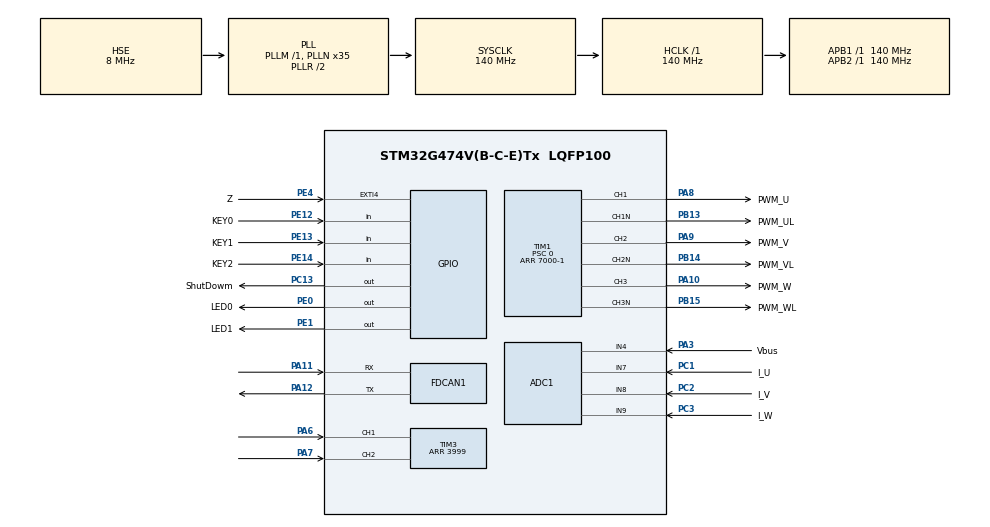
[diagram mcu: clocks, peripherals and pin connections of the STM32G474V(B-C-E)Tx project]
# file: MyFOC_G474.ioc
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ADC1.Channel-0\#ChannelRegularConversion=ADC_CHANNEL_4
ADC1.ContinuousConvMode=ENABLE
ADC1.EnableInjectedConversion=ENABLE
ADC1.ExternalTrigInjecConv=ADC_EXTERNALTRIGINJEC_T1_CC4
ADC1.InjNumberOfConversion=3
ADC1.InjectedChannel-1\#ChannelInjectedConversion=ADC_CHANNEL_7
ADC1.InjectedChannel-2\#ChannelInjectedConversion=ADC_CHANNEL_8
ADC1.InjectedChannel-3\#ChannelInjectedConversion=ADC_CHANNEL_9
ADC1.InjectedOffsetNumber-1\#ChannelInjectedConversion=ADC_OFFSET_NONE
ADC1.InjectedOffsetNumber-2\#ChannelInjectedConversion=ADC_OFFSET_NONE
ADC1.InjectedOffsetNumber-3\#ChannelInjectedConversion=ADC_OFFSET_NONE
ADC1.InjectedRank-1\#ChannelInjectedConversion=1
ADC1.InjectedRank-2\#ChannelInjectedConversion=2
ADC1.InjectedRank-3\#ChannelInjectedConversion=3
ADC1.InjectedSamplingTime-1\#ChannelInjectedConversion=ADC_SAMPLETIME_6CYCLES_5
ADC1.InjectedSamplingTime-2\#ChannelInjectedConversion=ADC_SAMPLETIME_6CYCLES_5
ADC1.InjectedSamplingTime-3\#ChannelInjectedConversion=ADC_SAMPLETIME_6CYCLES_5
ADC1.NbrOfConversionFlag=1
ADC1.OffsetNumber-0\#ChannelRegularConversion=ADC_OFFSET_NONE
ADC1.Rank-0\#ChannelRegularConversion=1
ADC1.Rank1_Channel=ADC_CHANNEL_7
ADC1.Rank2_Channel=ADC_CHANNEL_8
ADC1.Rank3_Channel=ADC_CHANNEL_9
ADC1.SamplingTime-0\#ChannelRegularConversion=ADC_SAMPLETIME_2CYCLES_5
ADC1.master=1
FDCAN1.AutoRetransmission=ENABLE
FDCAN1.CalculateBaudRateNominal=500000
FDCAN1.CalculateTimeBitNominal=2000
FDCAN1.CalculateTimeQuantumNominal=50.0
FDCAN1.NominalPrescaler=7
FDCAN1.NominalSyncJumpWidth=4
FDCAN1.NominalTimeSeg1=34
FDCAN1.NominalTimeSeg2=5
FDCAN1.StdFiltersNbr=1
Mcu.Family=STM32G4
Mcu.Name=STM32G474V(B-C-E)Tx
Mcu.Package=LQFP100
NVIC.ADC1_2_IRQn=true\:0\:0\:true\:false\:true\:true\:true\:true
NVIC.EXTI4_IRQn=true\:2\:0\:true\:false\:true\:true\:true\:true
NVIC.FDCAN1_IT0_IRQn=true\:1\:0\:true\:false\:true\:true\:true\:true
NVIC.PriorityGroup=NVIC_PRIORITYGROUP_4
NVIC.TIM6_DAC_IRQn=true\:15\:0\:false\:false\:true\:true\:true\:true
NVIC.TIM7_DAC_IRQn=true\:2\:0\:true\:false\:true\:true\:true\:true
NVIC.TimeBase=TIM6_DAC_IRQn
NVIC.TimeBaseIP=TIM6
PA10.GPIO_Label=PWM_W
PA10.Signal=S_TIM1_CH3
PA11.GPIO_PuPd=GPIO_NOPULL
PA11.GPIO_Speed=GPIO_SPEED_FREQ_HIGH
PA11.Mode=FDCAN_Activate
PA11.Signal=FDCAN1_RX
PA12.GPIO_Speed=GPIO_SPEED_FREQ_HIGH
PA12.Mode=FDCAN_Activate
PA12.Signal=FDCAN1_TX
PA13.Mode=Serial_Wire
PA13.Signal=SYS_JTMS-SWDIO
PA14.Mode=Serial_Wire
PA14.Signal=SYS_JTCK-SWCLK
PA3.GPIO_Label=Vbus
PA3.Mode=IN4-Single-Ended
PA3.Signal=ADC1_IN4
PA6.Signal=S_TIM3_CH1
PA7.Signal=S_TIM3_CH2
PA8.GPIO_Label=PWM_U
PA8.Signal=S_TIM1_CH1
PA9.GPIO_Label=PWM_V
PA9.Signal=S_TIM1_CH2
PB13.GPIO_Label=PWM_UL
PB13.Mode=PWM Generation1 CH1 CH1N
PB13.Signal=TIM1_CH1N
PB14.GPIO_Label=PWM_VL
PB14.Mode=PWM Generation2 CH2 CH2N
PB14.Signal=TIM1_CH2N
PB15.GPIO_Label=PWM_WL
PB15.Mode=PWM Generation3 CH3 CH3N
PB15.Signal=TIM1_CH3N
PC1.GPIO_Label=I_U
PC1.Mode=IN7-Single-Ended
PC1.Signal=ADC1_IN7
PC13.GPIO_Label=ShutDowm
PC13.Signal=GPIO_Output
PC2.GPIO_Label=I_V
PC2.Mode=IN8-Single-Ended
PC2.Signal=ADC1_IN8
PC3.GPIO_Label=I_W
PC3.Mode=IN9-Single-Ended
PC3.Signal=ADC1_IN9
PE0.GPIO_Label=LED0
PE0.GPIO_PuPd=GPIO_PULLUP
PE0.Signal=GPIO_Output
PE1.GPIO_Label=LED1
PE1.GPIO_PuPd=GPIO_PULLUP
PE1.Signal=GPIO_Output
PE12.GPIO_Label=KEY0
PE12.GPIO_PuPd=GPIO_PULLUP
PE12.Signal=GPIO_Input
PE13.GPIO_Label=KEY1
PE13.GPIO_PuPd=GPIO_PULLUP
PE13.Signal=GPIO_Input
PE14.GPIO_Label=KEY2
PE14.GPIO_PuPd=GPIO_PULLUP
PE14.Signal=GPIO_Input
PE4.GPIO_Label=Z
PE4.GPIO_PuPd=GPIO_PULLUP
PE4.Signal=GPXTI4
PF0-OSC_IN.Mode=HSE-External-Oscillator
PF0-OSC_IN.Signal=RCC_OSC_IN
PF1-OSC_OUT.Mode=HSE-External-Oscillator
PF1-OSC_OUT.Signal=RCC_OSC_OUT
ProjectManager.HeapSize=0x200
ProjectManager.StackSize=0x400
ProjectManager.TargetToolchain=MDK-ARM V5.32
RCC.ADC12Freq_Value=140000000
RCC.ADC345Freq_Value=140000000
RCC.AHBFreq_Value=140000000
RCC.APB1Freq_Value=140000000
RCC.APB1TimFreq_Value=140000000
RCC.APB2Freq_Value=140000000
RCC.APB2TimFreq_Value=140000000
RCC.CortexFreq_Value=140000000
RCC.EXTERNAL_CLOCK_VALUE=12288000
RCC.HCLKFreq_Value=140000000
RCC.HSE_VALUE=8000000
RCC.HSI48_VALUE=48000000
RCC.HSI_VALUE=16000000
RCC.LSE_VALUE=32768
RCC.PLLN=35
RCC.PLLSourceVirtual=RCC_PLLSOURCE_HSE
RCC.SYSCLKFreq_VALUE=140000000
RCC.SYSCLKSource=RCC_SYSCLKSOURCE_PLLCLK
RCC.USBFreq_Value=140000000
RCC.VCOOutputFreq_Value=280000000
SH.S_TIM1_CH1.0=TIM1_CH1,PWM Generation1 CH1 CH1N
SH.S_TIM1_CH2.0=TIM1_CH2,PWM Generation2 CH2 CH2N
SH.S_TIM1_CH3.0=TIM1_CH3,PWM Generation3 CH3 CH3N
SH.S_TIM3_CH1.0=TIM3_CH1,Encoder_Interface
SH.S_TIM3_CH2.0=TIM3_CH2,Encoder_Interface
TIM1.Channel-PWM\ Generation1\ CH1\ CH1N=TIM_CHANNEL_1
TIM1.Channel-PWM\ Generation2\ CH2\ CH2N=TIM_CHANNEL_2
TIM1.Channel-PWM\ Generation3\ CH3\ CH3N=TIM_CHANNEL_3
TIM1.Channel-PWM\ Generation4\ No\ Output=TIM_CHANNEL_4
TIM1.CounterMode=TIM_COUNTERMODE_CENTERALIGNED3
TIM1.DeadTime=50
TIM1.OCMode_PWM-PWM\ Generation4\ No\ Output=TIM_OCMODE_PWM2
TIM1.PeriodNoDither=7000-1
TIM1.Prescaler=0
TIM1.PulseNoDither_4=7000-2
TIM1.RepetitionCounter=1
TIM1.TIM_MasterOutputTrigger=TIM_TRGO_OC4REF
TIM3.EncoderMode=TIM_ENCODERMODE_TI12
TIM3.IC1Filter=5
TIM3.IC2Filter=5
TIM3.PeriodNoDither=3999
TIM7.PeriodNoDither=7000
TIM7.Prescaler=20-1
VP_SYS_VS_DBSignals.Mode=DisableDeadBatterySignals
VP_SYS_VS_tim6.Mode=TIM6
VP_TIM1_VS_ClockSourceINT.Mode=Internal
VP_TIM1_VS_no_output4.Mode=PWM Generation4 No Output
VP_TIM7_VS_ClockSourceINT.Mode=Enable_Timer
board=custom

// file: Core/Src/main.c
/* USER CODE BEGIN Header */
/**
  ******************************************************************************
  * @file           : main.c
  * @brief          : Main program body
  ******************************************************************************
  * @attention
  *
  * Copyright (c) 2025 STMicroelectronics.
  * All rights reserved.
  *
  * This software is licensed under terms that can be found in the LICENSE file
  * in the root directory of this software component.
  * If no LICENSE file comes with this software, it is provided AS-IS.
  *
  ******************************************************************************
  */
/* USER CODE END Header */
#include "main.h"
#include "adc.h"
#include "fdcan.h"
#include "tim.h"
#include "gpio.h"

/* USER CODE BEGIN Includes */
#include "Led_Key.h"
#include "Encoder.h"
#include "Foc_Function.h"
#include "Observer.h"
#include "NFO.h"
#include "HFI.h"
#include "EKF.h"
#include "DOB.h"
#include "math.h"
#include "arm_math.h"
#include "Dwt_timer.h"
#include "Identify_J_B.h"
#include "Identify_Rs_Ls.h"
#include "DeadTime.h"
/* USER CODE END Includes */

/* USER CODE BEGIN PV */

float     ref          = 0;
float     step         = 0.0f;

uint16_t  ADC_Vbus     = 0;
uint16_t  ADC_IsensU   = 0;
uint16_t  ADC_IsensV   = 0;
uint16_t  ADC_IsensW   = 0;

uint32_t  U_Offset     = 0;
uint32_t  V_Offset     = 0;
uint32_t  W_Offset     = 0;

float     Vbus         = 0;
float     IsensU_raw   = 0;
float     IsensV_raw   = 0;
float     IsensW_raw   = 0;
float     IsensU       = 0;
float     IsensV       = 0;
float     IsensW       = 0;

uint8_t   Offset_Flag  = 0;
uint8_t   Run_Flag     = 0;
uint8_t   Run_Switch   = 0;
uint8_t   ThetaUp_Flag = 0;
uint8_t   Z_flag       = 0;

uint8_t   Close_Flag   = 0;
uint8_t   Hat_Flag     = 0;

uint8_t   key          = 0;
float     my_theta     = 0;

uint16_t  EncValueRaw  = 0;
uint16_t  EncValue     = 0;
float     Enc_eTheta   = 0;
float     Enc_Speed    = 0;
uint16_t  Enc_Pos      = 0;
uint16_t  Enc_cnt      = 0;

//观测器变量
float     Smo_e_Theta     = 0;
float     Smo_Pll_e_Theta = 0;
float     Bef_e_Theta     = 0;
float     Smo_Speed       = 0;
float     Smo_err         = 0;

float     Nfo_e_Theta     = 0;

float     Ekf_e_Theta     = 0.0f;

float     Hfi_eTheta      = 0.0f;
float     Hfi_err         = 0.0f;

//MIT变量
float     Pref         =0.0f;
float     Vref         =0.0f;
float     Kp           =0.03f;
float     Kd           =0.002f;
float     Tff          =0.0f;

//PI控制变量
float     kp           = 1.92f;         // Kp  = wc*L    = 2*pi*1000*0.000305     = 1.92     带宽1khz
float     ki           = 0.236f;        // Ki  = wc*R*Ts = 2*pi*1000*0.375*0.0001 = 0.236
float     skp          = 0.00591f;      // skp = (2*pi/60) * (2*wc*J - B) / Kt               带宽20hz(以rpm为速度)0.00591f
float     ski          = 0.000378f;     // ski = [(2*pi/60) * (wc*wc*J) / Kt] * Ts 0.000378f
float     pkp          = 0.15f;
float     pkd          = 0.000f;

float     Iqref        = 0.0f;
float     Idref        = 0.0f;
int16_t   Speedref     = 0;
int32_t   Posref       = 0;

int32_t   Total_Position = 0;            // 多圈绝对位置累加器
uint16_t  Last_Raw_Value = 0;            // 上一次的单圈机械值

int16_t   Speedref_ramp  = 0;
int16_t   Speed_step_up  = 1;
int16_t   Speed_step_dn  = 10;

float     Ud;                           //Jlink
float     Uq;
float     Ualpha;
float     Ubeta;
float     Id;
float     Iq;
float     Ialpha;
float     Ibeta;

//DOB 扰动转矩观测器
QDOB_Handle_t g_qdob;
QDOB_Config_t g_qdob_cfg;

FullLuenbergerDOB_Handle_t g_full_dob;
FullLuenbergerDOB_Config_t g_full_dob_cfg;

//JLink/JScope观察变量
float DOB_Q_TL = 0.0f;          // Q-DOB估计负载转矩，N*m
float DOB_FULL_TL = 0.0f;       // 全阶Luenberger估计负载转矩，N*m
float DOB_FULL_W_HAT = 0.0f;    // 全阶内部估计速度，rad/s

//J  B  identify
ID_J_B_Handle_t   g_idjb;
ID_J_B_Output_t   g_idjb_out;
ID_J_B_Config_t   g_idjb_cfg;
ID_J_B_Input_t    idjb_in;
//Rs Ls identify
ID_Rs_Ls_Handle_t g_idrsl;
ID_Rs_Ls_Config_t g_idrsl_cfg;
ID_Rs_Ls_Input_t  g_idrsl_in;
ID_Rs_Ls_Output_t g_idrsl_out;

DWT_Time_t t;

/* USER CODE END PV */

void SystemClock_Config(void);

int main(void)
{

  /* MCU Configuration--------------------------------------------------------*/

  /* Reset of all peripherals, Initializes the Flash interface and the Systick. */
  HAL_Init();

  /* Configure the system clock */
  SystemClock_Config();

  /* USER CODE BEGIN SysInit */
  DWT_Timer_Init();
  /* USER CODE END SysInit */

  /* Initialize all configured peripherals */
  MX_GPIO_Init();
  MX_ADC1_Init();
  MX_TIM1_Init();
  MX_TIM3_Init();
  MX_TIM7_Init();
  MX_FDCAN1_Init();
  /* USER CODE BEGIN 2 */

  /******* LED 关闭 *******/
  LED0(1);
  LED1(1);

  /******* SHUTDOWN *******/
  HAL_GPIO_WritePin(GPIOC, GPIO_PIN_13, GPIO_PIN_SET);

  /******** TIM1&6&7 PWM *********/
//  HAL_TIM_Base_Start_IT(&htim6);
  HAL_TIM_Base_Start_IT(&htim7);

  HAL_TIM_Base_Start( &htim1);                                      //TIM1 PWM
  HAL_TIM_PWM_Start ( &htim1, TIM_CHANNEL_4);

  HAL_TIM_PWM_Start( &htim1, TIM_CHANNEL_1);
  HAL_TIM_PWM_Start( &htim1, TIM_CHANNEL_2);
  HAL_TIM_PWM_Start( &htim1, TIM_CHANNEL_3);
  HAL_TIMEx_PWMN_Start( &htim1, TIM_CHANNEL_1);
  HAL_TIMEx_PWMN_Start( &htim1, TIM_CHANNEL_2);
  HAL_TIMEx_PWMN_Start( &htim1, TIM_CHANNEL_3);

  /******** ADC ********/
  __HAL_ADC_CLEAR_FLAG( &hadc1, ADC_FLAG_JEOC);
  __HAL_ADC_CLEAR_FLAG( &hadc1, ADC_FLAG_EOC);                      //End of Conversion

  HAL_ADCEx_Calibration_Start(&hadc1 , ADC_SINGLE_ENDED);           //ADC
  HAL_ADCEx_InjectedStart_IT(&hadc1);

  HAL_ADC_Start(&hadc1);
  /******** 编码器0位校准 ********/
  Encoder_Init();
  while(Offset_Flag == 0)
  {
      HAL_Delay(1);
  }
  Encoder_Align_Zero();

  /******** NFO复位 ********/
  NFO_Reset(&NFO, Enc_eTheta, MyFoc.Ialpha, MyFoc.Ibeta);

  /******** HFI复位使能 ********/
  HFI_Reset(&HFI, Enc_eTheta);
  HFI.enable = 1;

  /******** EKF复位 ********/
  EKF_SetMotor(&EKF, 0.375f, 0.000305f, 0.00512f, 0.0001f);
  EKF_SetNoise(&EKF, 0.00002f, 50.0f, 0.0001f, 0.01f);
  EKF_Reset(&EKF, Enc_eTheta, MyFoc.Ialpha, MyFoc.Ibeta, 0.0f);

  /******** DOB初始化 ********/
  QDOB_DefaultConfig(&g_qdob_cfg);
  g_qdob_cfg.wq = 80.0f;              // Q-DOB带宽 rad/s，先保守
  g_qdob_cfg.tl_abs_limit_nm = 0.5f;  // 转矩估计限幅 N*m
  QDOB_Init(&g_qdob, &g_qdob_cfg);

  FullLuenbergerDOB_DefaultConfig(&g_full_dob_cfg);
  g_full_dob_cfg.wo = 100.0f;         // 全阶观测器带宽 rad/s
  g_full_dob_cfg.tl_abs_limit_nm = 0.5f;
  FullLuenbergerDOB_Init(&g_full_dob, &g_full_dob_cfg);

  /******** MIT初始化 ********/
  MIT_Init(&MIT_Ctrl);
  MIT_Reset(&MIT_Ctrl, 0.0f);

  /******** LADRC初始化 ********/
  SpeedLADRC_Init(&S_LADRC);
  SpeedLADRC_Reset(&S_LADRC, 0.0f);

  /******** SMC 初始化 ********/
  SMC_Init(&S_SMC);
  SMC_Reset(&S_SMC, 0.0f);

  /******** PID初始化赋值 ********/
  C_PI.Kp = kp;
  C_PI.Ki = ki;
  S_PI.Kp = skp;
  S_PI.Ki = ski;
  P_PI.Kp = pkp;
  P_PI.Kd = pkd;

  /******** FW初始化赋值 ********/
  FW_PI.Vdc         = Udc;         // 目前宏定义是24，如果有实时采样可以在控制大循环中更新
  FW_PI.Is_max      = 4.0f;        // 电流极限圆半径：依据速度环的最大电流限幅设置
  FW_PI.id_fw_min   = -4.0f;       // 弱磁深度底线直接用-Is_max防止烧毁
  FW_PI.Kp          = 0.3f;
  FW_PI.Ki          = 0.04f;
  FW_PI.fw_KI_sum   = 0.0f;

  /******** J B 辨识初始化 ********/
  Id_J_B_DefaultConfig(&g_idjb_cfg);
  Id_J_B_Init(&g_idjb, &g_idjb_cfg);

  /******** RsLs辨识初始化 ********/
  Id_Rs_Ls_DefaultConfig(&g_idrsl_cfg);
  Id_Rs_Ls_Init(&g_idrsl, &g_idrsl_cfg);

  /******** 死区补偿初始化 ********/
  DeadTimeComp_Init(&DTC, 50.0f, 6999.0f);
  DeadTimeComp_SetGain(&DTC, 0.0f);
  DeadTimeComp_SetCurrentThreshold(&DTC, 0.05f);
  DeadTimeComp_SetEnable(&DTC, 1);

  Run_Flag = 1;

  /* USER CODE END 2 */

  /* Infinite loop */
  /* USER CODE BEGIN WHILE */

  while (1)
  {
    /***** 母线ADC*****/
//    if (HAL_ADC_PollForConversion(&hadc1, 1) == HAL_OK)
//    {
//        ADC_Vbus = HAL_ADC_GetValue(&hadc1);
//        Vbus = (float)ADC_Vbus * 0.0201416f;
//        HAL_ADC_Start(&hadc1);
//    }
    /****** KEY_LED ******/
      key = key_scan(0);
      key_function( key , &Iqref , &Speedref);

    /* USER CODE END WHILE */

  }
}

void SystemClock_Config(void)
{
  RCC_OscInitTypeDef RCC_OscInitStruct = {0};
  RCC_ClkInitTypeDef RCC_ClkInitStruct = {0};

  /** Configure the main internal regulator output voltage
  */
  HAL_PWREx_ControlVoltageScaling(PWR_REGULATOR_VOLTAGE_SCALE1);

  /** Initializes the RCC Oscillators according to the specified parameters
  * in the RCC_OscInitTypeDef structure.
  */
  RCC_OscInitStruct.OscillatorType = RCC_OSCILLATORTYPE_HSE;
  RCC_OscInitStruct.HSEState = RCC_HSE_ON;
  RCC_OscInitStruct.PLL.PLLState = RCC_PLL_ON;
  RCC_OscInitStruct.PLL.PLLSource = RCC_PLLSOURCE_HSE;
  RCC_OscInitStruct.PLL.PLLM = RCC_PLLM_DIV1;
  RCC_OscInitStruct.PLL.PLLN = 35;
  RCC_OscInitStruct.PLL.PLLP = RCC_PLLP_DIV2;
  RCC_OscInitStruct.PLL.PLLQ = RCC_PLLQ_DIV2;
  RCC_OscInitStruct.PLL.PLLR = RCC_PLLR_DIV2;
  if (HAL_RCC_OscConfig(&RCC_OscInitStruct) != HAL_OK)
  {
    Error_Handler();
  }

  /** Initializes the CPU, AHB and APB buses clocks
  */
  RCC_ClkInitStruct.ClockType = RCC_CLOCKTYPE_HCLK|RCC_CLOCKTYPE_SYSCLK
                              |RCC_CLOCKTYPE_PCLK1|RCC_CLOCKTYPE_PCLK2;
  RCC_ClkInitStruct.SYSCLKSource = RCC_SYSCLKSOURCE_PLLCLK;
  RCC_ClkInitStruct.AHBCLKDivider = RCC_SYSCLK_DIV1;
  RCC_ClkInitStruct.APB1CLKDivider = RCC_HCLK_DIV1;
  RCC_ClkInitStruct.APB2CLKDivider = RCC_HCLK_DIV1;

  if (HAL_RCC_ClockConfig(&RCC_ClkInitStruct, FLASH_LATENCY_4) != HAL_OK)
  {
    Error_Handler();
  }
}

/* USER CODE BEGIN 4 */

/*********************************** ADC中断***********************************/
/*ADC中断 FOC 10kHz 100us*/
void HAL_ADCEx_InjectedConvCpltCallback(ADC_HandleTypeDef *hadc)                  //10kHz  100us
{
    static uint8_t  offset_cnt  = 0;
    static uint32_t Spdloop_cnt = 0;
    static uint8_t  Posloop_cnt = 0;
    static uint8_t  MITloop_cnt = 0;

    DWT_Timer_Start(&t);

    UNUSED(hadc);
    if(hadc == &hadc1)
    {
        if(Offset_Flag == 0)
        {
            offset_cnt++;
            ADC_IsensU = hadc1.Instance->JDR1;
            ADC_IsensV = hadc1.Instance->JDR2;
            ADC_IsensW = hadc1.Instance->JDR3;
            U_Offset += ADC_IsensU;
            V_Offset += ADC_IsensV;
            W_Offset += ADC_IsensW;
            if(offset_cnt >= 10)
            {
                U_Offset = U_Offset/10;
                V_Offset = V_Offset/10;
                W_Offset = W_Offset/10;
                Offset_Flag  = 1;
            }
        }
        else
        {
            ADC_IsensU = hadc1.Instance->JDR1;
            ADC_IsensV = hadc1.Instance->JDR2;
            ADC_IsensW = hadc1.Instance->JDR3;
            IsensU =  (float)((int)ADC_IsensU - (int)U_Offset)* 0.006713867f;
            IsensV =  (float)((int)ADC_IsensV - (int)V_Offset)* 0.006713867f;
            IsensW =  (float)((int)ADC_IsensW - (int)W_Offset)* 0.006713867f;
        }
     }

     if(Run_Flag)
     {
/************************************* Encoder Theta ******************************************/
        Encoder_Update_Angle();
        MyFoc.position = MyEnc.Raw_Value;
        Enc_eTheta     = MyEnc.Elec_Angle;

/************************************* Position Loop ******************************************/
        // 软件扩展 位置环 多圈位置计算
//        int16_t delta = MyEnc.Raw_Value - Last_Raw_Value;
//        if (delta >  2000) delta -= 4000; // 发生反转溢出
//        if (delta < -2000) delta += 4000; // 发生正转溢出
//        Total_Position += delta;          // 累加到多圈总位置
//        Last_Raw_Value = MyEnc.Raw_Value; // 更新历史值

//        // 位置环执行 (每20个周期执行一次，即2ms，也就是500Hz跑一次位置环)
//        Posloop_cnt++;
//        if (Posloop_cnt >= 20)
//        {
//            Posloop_cnt = 0;
//            PositionPI(Total_Position, (int32_t)Posref, &P_PI, &Speedref);
//        }

/************************************** Speed Loop *******************************************/
        Spdloop_cnt++;
        if (Spdloop_cnt >= 10)
        {
            Spdloop_cnt = 0;
            int16_t step;
            if ((Speedref_ramp >= 0 && Speedref >= Speedref_ramp) ||
                (Speedref_ramp <= 0 && Speedref <= Speedref_ramp)) {
                step = Speed_step_up; // 加速状态
            } else {
                step = Speed_step_dn; // 减速(刹车)状态
            }

            if (Speedref_ramp < Speedref)
            {
                Speedref_ramp += step;
                if (Speedref_ramp > Speedref) Speedref_ramp = Speedref;
            }
            else if (Speedref_ramp > Speedref)
            {
                Speedref_ramp -= step;
                if (Speedref_ramp < Speedref) Speedref_ramp = Speedref;
            }

            /******** 速度环LADRC控制器 ********/
            SpeedLADRC(&MyFoc, &S_LADRC, Speedref_ramp, &Iqref);

//            /********* 速度环PI控制器  *********/
//            S_PI.speed_ref = Speedref_ramp;
//            SpeedPI(&MyFoc, &S_PI, &Iqref);
//
//            /********* 速度环SMC控制器 *********/
//            SpeedSMC(&MyFoc, &S_SMC, Speedref_ramp, &Iqref);
//
//            /*********  齿槽转矩补偿  **********/
//            uint16_t idx = ((uint32_t)MyEnc.Raw_Value * 256U) / 4000U;
//            if (idx >= 256U) idx = 255U;
//            Iqref += 0.0f * CogComp_Table[idx];
//            if (Iqref >  4.0f) Iqref =  4.0f;
//            if (Iqref < -4.0f) Iqref = -4.0f;
        }

/************************************** MIT Loop *******************************************/
//        MITloop_cnt++;
//        if (MITloop_cnt >= 10)
//        {
//            MITloop_cnt = 0;
//            float p_mech_rad   = MyEnc.Mech_Angle;
//            float v_mech_rad_s = (float)MyFoc.speed * 0.104719755f;
//
//

//            MIT_SetCommand(&MIT_Ctrl,Pref, Vref, Kp, Kd, Tff);

//            MIT_CalcIq(&MIT_Ctrl, p_mech_rad, v_mech_rad_s, &Iqref);
//        }
/************************************** FW Update ******************************************/

        FW_PI.Vdc = 24;
        FieldWeakening_Control(&MyFoc, &FW_PI, Iqref, &Idref, &Iqref);

/************************************* Current Loop ******************************************/
        float iq_cmd = Iqref;
        float id_cmd = Idref;

        /********* J B 辨识 *********/
//        if (g_idjb_out.takeover) iq_cmd = g_idjb_out.iq_cmd_a;  /* 辨识时接管 */

        /******* Rs Ls 辨识 *******/
//        g_idrsl_in.iu_a = IsensU;
//        g_idrsl_in.iv_a = IsensV;
//        g_idrsl_in.iw_a = IsensW;
//        g_idrsl_in.speed_rpm = MyFoc.speed;
//        g_idrsl_in.run_flag = Run_Flag;
//        Id_Rs_Ls_Update_10kHz(&g_idrsl, &g_idrsl_in, &g_idrsl_out);
//        if (g_idrsl_out.takeover)VF_OpenLoop(&MyFoc, g_idrsl_out.ud_cmd_v, g_idrsl_out.uq_cmd_v, g_idrsl_out.theta_rad);

        /********* 电流环 *********/
        IF_OpenLoop(&MyFoc, &C_PI, IsensU, IsensV, IsensW, iq_cmd , id_cmd , Enc_eTheta); //iq_cmd Enc_eTheta

        /********* HFI旁路更新检测 *********/
//        MyFoc.Iu = IsensU;
//        MyFoc.Iv = IsensV;
//        MyFoc.Iw = IsensW;
//        Clarke(&MyFoc);
//        /* HFI只旁路估算角度 */
//        Hfi_eTheta = HFI_Update(&HFI, MyFoc.Ialpha, MyFoc.Ibeta);
//        if (HFI.polarity_ok == 0) HFI_PolarityDetect(&HFI);
//        C_PI.Iq_ref = Iqref;
//        C_PI.Id_ref = Idref;
//        Park(&MyFoc, Enc_eTheta);
//        CurrentPI(&MyFoc, &C_PI);
//        /* 叠加HFI注入电压，否则HFI没有激励源 */
//        MyFoc.Ud += HFI.Vdh;
//        MyFoc.Uq += HFI.Vqh;
//        if (MyFoc.Ud >  10.0f) MyFoc.Ud =  10.0f;
//        if (MyFoc.Ud < -10.0f) MyFoc.Ud = -10.0f;
//        if (MyFoc.Uq >  13.8f) MyFoc.Uq =  13.8f;
//        if (MyFoc.Uq < -13.8f) MyFoc.Uq = -13.8f;
//        Invpark(&MyFoc, Enc_eTheta);
//        Svpwm(&MyFoc);

     } //Run_Flag

     float smo_dir = 1.0f;
     if (Speedref_ramp < 0)
     {
         smo_dir = -1.0f;
     }
     else
     {
         smo_dir = 1.0f;
     }
//     Smo_Pll_e_Theta =  SMO_PLL_Update(&SMO, &PLL, MyFoc.Ualpha, MyFoc.Ubeta, MyFoc.Ialpha, MyFoc.Ibeta, smo_dir);
//     Nfo_e_Theta = NFO_PLL_Update(&NFO,MyFoc.Ualpha, MyFoc.Ubeta, MyFoc.Ialpha, MyFoc.Ibeta);
//     Ekf_e_Theta = EKF_Update_light(&EKF, MyFoc.Ualpha, MyFoc.Ubeta, MyFoc.Ialpha, MyFoc.Ibeta);

     DWT_Timer_Stop(&t);

    //jlinkt
    Ud      = MyFoc.Ud;
    Uq      = MyFoc.Uq;
    Ualpha  = MyFoc.Ualpha;
    Ubeta   = MyFoc.Ubeta;
    Id      = MyFoc.Id;
    Iq      = MyFoc.Iq;
    Ialpha  = MyFoc.Ialpha;
    Ibeta   = MyFoc.Ibeta;

}//ADC IT END

/*** 外部中断 ***/
void HAL_GPIO_EXTI_Callback(uint16_t GPIO_Pin)
{
}

/* USER CODE END 4 */

void HAL_TIM_PeriodElapsedCallback(TIM_HandleTypeDef *htim)
{
  if (htim->Instance == TIM6) {
    HAL_IncTick();
  }
  /* USER CODE BEGIN Callback 1 */
    if (htim->Instance == TIM7)                // TIM7  1kHz 1ms
    {
        /******************* Encoder SpeedCal *********************/
        Encoder_Calculate_Speed();
        Enc_Speed   = MyEnc.Speed_RPM;
        MyFoc.speed = MyEnc.Speed_RPM;

        /*********************** DOB Update ***********************/
        DOB_Q_TL = QDOB_Update_1kHz(&g_qdob, MyFoc.Iq, (float)MyFoc.speed);
//        DOB_FULL_TL = FullLuenbergerDOB_Update_1kHz(&g_full_dob, MyFoc.Iq, (float)MyFoc.speed);
//        DOB_FULL_W_HAT = g_full_dob.omega_hat_rad_s;

        float dob_tff = DOB_Q_TL;
        if (dob_tff >  0.1f) dob_tff =  0.1f;
        if (dob_tff < -0.1f) dob_tff = -0.1f;
        Tff = dob_tff * 0.5f; //作为mit前馈转矩

        /********************* J_B Identify ***********************/
//        idjb_in.iq_meas_a = MyFoc.Iq;
//        idjb_in.speed_rpm = MyFoc.speed;
//        idjb_in.run_flag  = Run_Flag;

//        Id_J_B_Update_1kHz(&g_idjb, &idjb_in, &g_idjb_out);

        /*********************** CAN COM ***********************/
//        static uint8_t can_tx_cnt = 0;
//        can_tx_cnt++;
//        if ( can_tx_cnt>= 100U)
//        {
//            uint8_t tx_data[8] = {
//                0x54, 0x53, 0x4D, 0x31,                     // ASCII: 'T' 'S' 'M' '1'
//                can_tx_cnt,                                 //
//                g_fdcan1_last_rx_len,                       // 接收长度
//                (uint8_t)g_fdcan1_rx_count,                 //
//                (uint8_t)g_fdcan1_error_count               //
//            };

//            (void)FDCAN1_SendStd(0x123, tx_data, 8);        // ID=0x123
//            can_tx_cnt = 0;
//        }

    }
  /* USER CODE END Callback 1 */
}

void Error_Handler(void)
{
  __disable_irq();
  while (1)
  {
  }
}
